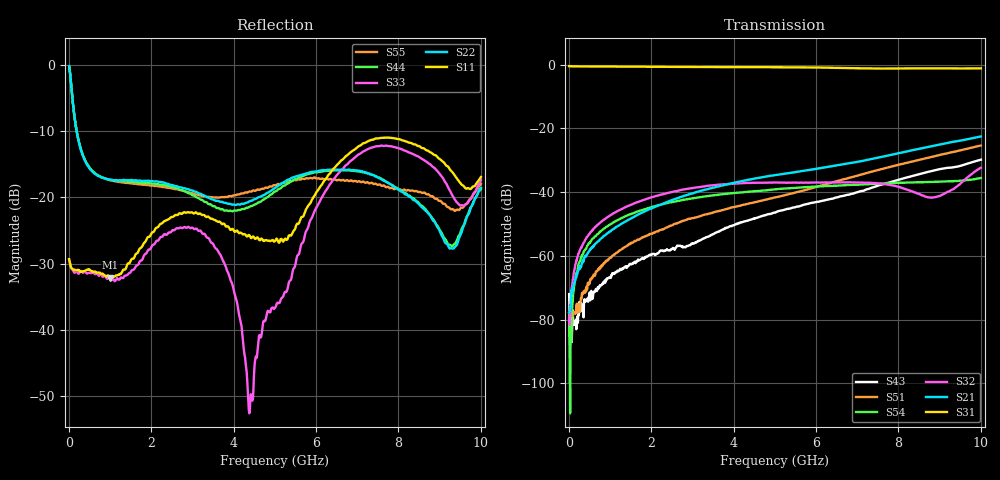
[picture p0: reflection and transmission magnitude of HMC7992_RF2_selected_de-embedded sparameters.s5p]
! Device:	HMC7992
! Description:	Silicon MMIC SP4T Non-Reflective Switch
! Package:	LP3E - 16 pin 3x3mm QFN plastic package
! Frequency:	0.1 -  6 GHz
! Ports:
! RFC = Port 1
! RF1 = Port 2
! RF2 = Port 3
! RF3 = Port 4
! RF4 = Port 5
! State: RF2 Selected
! Supply Voltage:
! Vdd = 5 V
! Control Voltages:
! VA  = 5 V
! VB  = 0 V
! Data:	Data was collected using a calibrated network analyzer with AFR software.
!	Fixtures were calculated using AFR and fixturing was applied to collect
!	this Deembedded  S Parameter data of HMC7992.
! Note:	Analog Devices supplies this data as a sample of measured data at the package pin
!	for this product.  Your particular data for this product may vary.
!	Data was taken at 25 degrees C.
!	Analog Devices reserves the right to change this data at anytime.
# GHz S  dB  R 50
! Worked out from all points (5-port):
!   801 points, 10 MHz to 10 GHz, reference 50 ohm
!   strongest paths, dB at 10 MHz, 2.507 GHz, 5.005 GHz, 7.503 GHz, 10 GHz:
!     S31: -0.4, -0.7, -0.8, -1.2, -1.1
!     S21: -77.8, -42.5, -34.6, -29.2, -22.5
!     S32: -79.5, -39.9, -37.0, -37.3, -32.3
!     S54: -80.1, -43.1, -39.1, -37.4, -35.6
!     S51: -78.0, -50.4, -41.7, -33.1, -25.4
!     S43: -72.0, -57.8, -46.4, -38.0, -29.8
!   lowest |S11| = -32.1 dB at 1.009 GHz (marker M1), VSWR 1.05, Z = 52.2 - j1.28 ohm
!   |S11| at or under -10 dB: start of sweep to end of sweep
